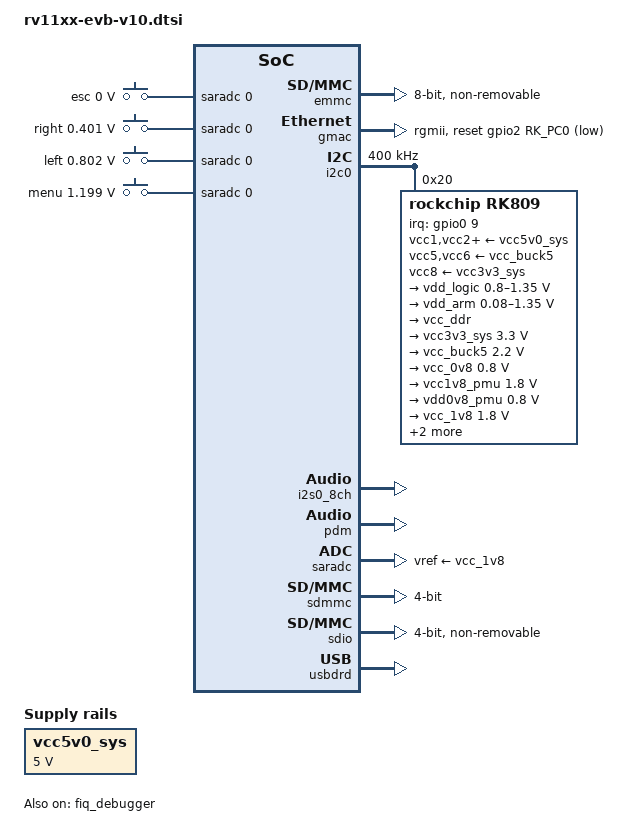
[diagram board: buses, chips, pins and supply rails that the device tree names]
// SPDX-License-Identifier: (GPL-2.0+ OR MIT)
/*
 * Copyright (c) 2019 Fuzhou Rockchip Electronics Co., Ltd.
 */

#include <dt-bindings/input/input.h>

/ {
	adc-keys {
		compatible = "adc-keys";
		io-channels = <&saradc 0>;
		io-channel-names = "buttons";
		poll-interval = <100>;
		keyup-threshold-microvolt = <1800000>;

		esc-key {
			label = "esc";
			linux,code = <KEY_ESC>;
			press-threshold-microvolt = <0>;
		};

		right-key {
			label = "right";
			linux,code = <KEY_RIGHT>;
			press-threshold-microvolt = <400781>;
		};

		left-key {
			label = "left";
			linux,code = <KEY_LEFT>;
			press-threshold-microvolt = <801562>;
		};

		menu-key {
			label = "menu";
			linux,code = <KEY_MENU>;
			press-threshold-microvolt = <1198828>;
		};
	};

	dummy_codec: dummy-codec {
		compatible = "rockchip,dummy-codec";
		#sound-dai-cells = <0>;
	};

	pdm_mic_array: pdm-mic_array {
		compatible = "simple-audio-card";
		simple-audio-card,name = "rockchip,pdm-mic-array";
		simple-audio-card,cpu {
			sound-dai = <&pdm>;
		};
		simple-audio-card,codec {
			sound-dai = <&dummy_codec>;
		};
	};

	rk809_sound: rk809-sound {
		compatible = "simple-audio-card";
		simple-audio-card,format = "i2s";
		simple-audio-card,name = "rockchip,rk809-codec";
		simple-audio-card,mclk-fs = <256>;
		simple-audio-card,widgets =
			"Microphone", "Mic Jack",
			"Headphone", "Headphone Jack";
		simple-audio-card,routing =
			"Mic Jack", "MICBIAS1",
			"IN1P", "Mic Jack",
			"Headphone Jack", "HPOL",
			"Headphone Jack", "HPOR";
		simple-audio-card,cpu {
			sound-dai = <&i2s0_8ch>;
		};
		simple-audio-card,codec {
			sound-dai = <&rk809_codec>;
		};
	};

	vcc5v0_sys: vccsys {
		compatible = "regulator-fixed";
		regulator-name = "vcc5v0_sys";
		regulator-always-on;
		regulator-boot-on;
		regulator-min-microvolt = <5000000>;
		regulator-max-microvolt = <5000000>;
	};
};

&emmc {
	bus-width = <8>;
	cap-mmc-highspeed;
	non-removable;
	mmc-hs200-1_8v;
	rockchip,default-sample-phase = <90>;
	supports-emmc;
	status = "okay";
};

&fiq_debugger {
	status = "okay";
};

&gmac {
	phy-mode = "rgmii";
	clock_in_out = "input";
	snps,reset-gpio = <&gpio2 RK_PC0 GPIO_ACTIVE_LOW>;
	snps,reset-active-low;
	/* Reset time is 20ms, 100ms for rtl8211f */
	snps,reset-delays-us = <0 20000 100000>;
	assigned-clocks = <&cru CLK_GMAC_SRC>;
	assigned-clock-parents = <&cru CLK_GMAC_RGMII_M1>;
	assigned-clocks = <&cru CLK_GMAC_ETHERNET_OUT>;
	assigned-clock-rates = <25000000>;
	tx_delay = <0x40>;
	rx_delay = <0x3a>;
	status = "okay";
};

&i2c0 {
	status = "okay";
	clock-frequency = <400000>;
	i2c-scl-rising-time-ns = <280>;
	i2c-scl-falling-time-ns = <16>;

	rk809: pmic@20 {
		compatible = "rockchip,rk809";
		reg = <0x20>;
		interrupt-parent = <&gpio0>;
		interrupts = <9 IRQ_TYPE_LEVEL_LOW>;
		pinctrl-names = "default", "pmic-sleep",
			"pmic-power-off", "pmic-reset";
		pinctrl-0 = <&pmic_int>;
		pinctrl-1 = <&soc_slppin_slp>, <&rk817_slppin_slp>;
		pinctrl-2 = <&soc_slppin_gpio>, <&rk817_slppin_pwrdn>;
		pinctrl-3 = <&soc_slppin_rst>, <&rk817_slppin_rst>;
		rockchip,system-power-controller;
		wakeup-source;
		#clock-cells = <1>;
		clock-output-names = "rk808-clkout1", "rk808-clkout2";
		/* 0: rst the pmic, 1: rst regs (default in codes) */
		pmic-reset-func = <0>;

		vcc1-supply = <&vcc5v0_sys>;
		vcc2-supply = <&vcc5v0_sys>;
		vcc3-supply = <&vcc5v0_sys>;
		vcc4-supply = <&vcc5v0_sys>;
		vcc5-supply = <&vcc_buck5>;
		vcc6-supply = <&vcc_buck5>;
		vcc7-supply = <&vcc5v0_sys>;
		vcc8-supply = <&vcc3v3_sys>;
		vcc9-supply = <&vcc5v0_sys>;

		pwrkey {
			status = "okay";
		};

		pinctrl_rk8xx: pinctrl_rk8xx {
			gpio-controller;
			#gpio-cells = <2>;

			/omit-if-no-ref/
			rk817_slppin_null: rk817_slppin_null {
				pins = "gpio_slp";
				function = "pin_fun0";
			};

			/omit-if-no-ref/
			rk817_slppin_slp: rk817_slppin_slp {
				pins = "gpio_slp";
				function = "pin_fun1";
			};

			/omit-if-no-ref/
			rk817_slppin_pwrdn: rk817_slppin_pwrdn {
				pins = "gpio_slp";
				function = "pin_fun2";
			};

			/omit-if-no-ref/
			rk817_slppin_rst: rk817_slppin_rst {
				pins = "gpio_slp";
				function = "pin_fun3";
			};
		};

		regulators {
			vdd_logic: DCDC_REG1 {
				regulator-always-on;
				regulator-boot-on;
				regulator-min-microvolt = <800000>;
				regulator-max-microvolt = <1350000>;
				regulator-ramp-delay = <6001>;
				regulator-initial-mode = <0x2>;
				regulator-name = "vdd_logic";
				regulator-state-mem {
					regulator-on-in-suspend;
					regulator-suspend-microvolt = <80000>;
				};
			};

			vdd_arm: DCDC_REG2 {
				regulator-always-on;
				regulator-boot-on;
				regulator-min-microvolt = <80000>;
				regulator-max-microvolt = <1350000>;
				regulator-ramp-delay = <6001>;
				regulator-initial-mode = <0x2>;
				regulator-name = "vdd_arm";
				regulator-state-mem {
					regulator-off-in-suspend;
				};
			};

			vcc_ddr: DCDC_REG3 {
				regulator-always-on;
				regulator-boot-on;
				regulator-initial-mode = <0x2>;
				regulator-name = "vcc_ddr";
				regulator-state-mem {
					regulator-on-in-suspend;
				};
			};

			vcc3v3_sys: DCDC_REG4 {
				regulator-always-on;
				regulator-boot-on;
				regulator-min-microvolt = <3300000>;
				regulator-max-microvolt = <3300000>;
				regulator-initial-mode = <0x2>;
				regulator-name = "vcc3v3_sys";
				regulator-state-mem {
					regulator-on-in-suspend;
					regulator-suspend-microvolt = <3300000>;
				};
			};

			vcc_buck5: DCDC_REG5 {
				regulator-always-on;
				regulator-boot-on;
				regulator-min-microvolt = <2200000>;
				regulator-max-microvolt = <2200000>;
				regulator-name = "vcc_buck5";
				regulator-state-mem {
					regulator-on-in-suspend;
					regulator-suspend-microvolt = <2200000>;
				};
			};

			vcc_0v8: LDO_REG1 {
				regulator-always-on;
				regulator-boot-on;
				regulator-min-microvolt = <800000>;
				regulator-max-microvolt = <800000>;
				regulator-name = "vcc_0v8";
				regulator-state-mem {
					regulator-off-in-suspend;
				};
			};

			vcc1v8_pmu: LDO_REG2 {
				regulator-always-on;
				regulator-boot-on;
				regulator-min-microvolt = <1800000>;
				regulator-max-microvolt = <1800000>;
				regulator-name = "vcc1v8_pmu";
				regulator-state-mem {
					regulator-on-in-suspend;
					regulator-suspend-microvolt = <1800000>;
				};
			};

			vdd0v8_pmu: LDO_REG3 {
				regulator-always-on;
				regulator-boot-on;
				regulator-min-microvolt = <800000>;
				regulator-max-microvolt = <800000>;
				regulator-name = "vcc0v8_pmu";
				regulator-state-mem {
					regulator-on-in-suspend;
					regulator-suspend-microvolt = <800000>;
				};
			};

			vcc_1v8: LDO_REG4 {
				regulator-always-on;
				regulator-boot-on;
				regulator-min-microvolt = <1800000>;
				regulator-max-microvolt = <1800000>;
				regulator-name = "vcc_1v8";
				regulator-state-mem {
					regulator-on-in-suspend;
					regulator-suspend-microvolt = <1800000>;
				};
			};

			vcc_dovdd: LDO_REG5 {
				regulator-min-microvolt = <1800000>;
				regulator-max-microvolt = <1800000>;
				regulator-name = "vcc_dovdd";
				regulator-state-mem {
					regulator-off-in-suspend;
				};
			};

			vcc_dvdd: LDO_REG6 {
				regulator-min-microvolt = <1500000>;
				regulator-max-microvolt = <1500000>;
				regulator-name = "vcc_dvdd";
				regulator-state-mem {
					regulator-off-in-suspend;
				};
			};

			vcc_avdd: LDO_REG7 {
				regulator-min-microvolt = <2800000>;
				regulator-max-microvolt = <2800000>;
				regulator-name = "vcc_avdd";
				regulator-state-mem {
					regulator-off-in-suspend;
				};
			};

			vccio_sd: LDO_REG8 {
				regulator-always-on;
				regulator-boot-on;
				regulator-min-microvolt = <3300000>;
				regulator-max-microvolt = <3300000>;
				regulator-name = "vccio_sd";
				regulator-state-mem {
					regulator-off-in-suspend;
				};
			};

			vcc3v3_sd: LDO_REG9 {
				regulator-always-on;
				regulator-boot-on;
				regulator-min-microvolt = <3300000>;
				regulator-max-microvolt = <3300000>;
				regulator-name = "vcc3v3_sd";
				regulator-state-mem {
					regulator-off-in-suspend;
				};
			};

			vcc5v0_host: SWITCH_REG1 {
				regulator-name = "vcc5v0_host";
			};

			vcc_3v3: SWITCH_REG2 {
				regulator-boot-on;
				regulator-name = "vcc_3v3";
			};
		};

		rk809_codec: codec {
			#sound-dai-cells = <0>;
			compatible = "rockchip,rk809-codec", "rockchip,rk817-codec";
			clocks = <&cru MCLK_I2S8CH_TX_OUT2IO>;
			clock-names = "mclk";
			pinctrl-names = "default";
			pinctrl-0 = <&i2s0m0_mclk>;
			hp-volume = <20>;
			spk-volume = <3>;
		};
	};
};

&i2s0_8ch {
	status = "okay";
	#sound-dai-cells = <0>;
	pinctrl-names = "default";
	pinctrl-0 = <&i2s0m0_sclk_tx
		     &i2s0m0_lrck_tx
		     &i2s0m0_sdo0
		     &i2s0m0_sdo1_sdi3>;
};

&pdm {
	status = "okay";
	#sound-dai-cells = <0>;
	pinctrl-names = "default";
	pinctrl-0 = <&pdmm0_clk
		     &pdmm0_clk1
		     &pdmm0_sdi0
		     &pdmm0_sdi1
		     &pdmm0_sdi2>;
};

&pinctrl {
	pmic {
		/omit-if-no-ref/
		pmic_int: pmic_int {
			rockchip,pins =
				<0 RK_PB1 RK_FUNC_GPIO &pcfg_pull_up>;
		};

		/omit-if-no-ref/
		soc_slppin_gpio: soc_slppin_gpio {
			rockchip,pins =
				<0 RK_PB2 RK_FUNC_GPIO &pcfg_output_low>;
		};

		/omit-if-no-ref/
		soc_slppin_slp: soc_slppin_slp {
			rockchip,pins =
				<0 RK_PB2 RK_FUNC_1 &pcfg_pull_none>;
		};

		/omit-if-no-ref/
		soc_slppin_rst: soc_slppin_rst {
			rockchip,pins =
				<0 RK_PB2 RK_FUNC_2 &pcfg_pull_none>;
		};
	};
};

&saradc {
	status = "okay";
	vref-supply = <&vcc_1v8>;
};

&sdmmc {
	bus-width = <4>;
	cap-mmc-highspeed;
	cap-sd-highspeed;
	card-detect-delay = <200>;
	rockchip,default-sample-phase = <90>;
	supports-sd;
	sd-uhs-sdr12;
	sd-uhs-sdr25;
	sd-uhs-sdr104;
	status = "okay";
};

&sdio {
	bus-width = <4>;
	cap-sd-highspeed;
	cap-sdio-irq;
	keep-power-in-suspend;
	non-removable;
	rockchip,default-sample-phase = <90>;
	sd-uhs-sdr104;
	supports-sdio;
	status = "okay";
};

&usbdrd {
	status = "okay";

	usbdrd_dwc3 {
		status = "okay";
		/delete-property/ phys;
		dr_mode = "peripheral";
	};
};
